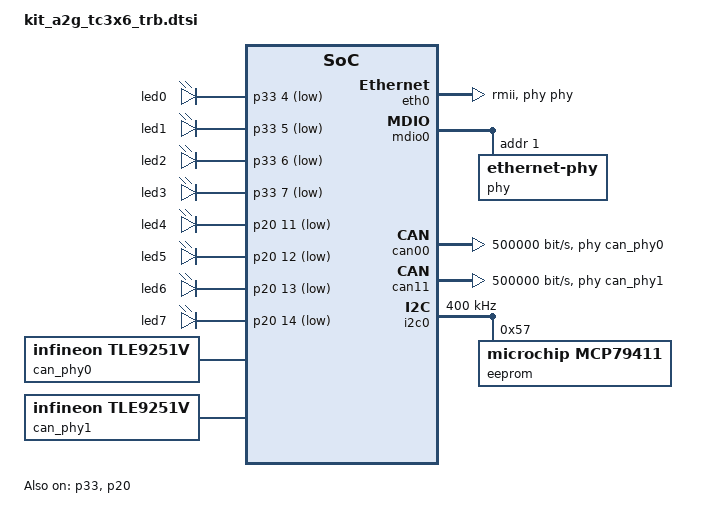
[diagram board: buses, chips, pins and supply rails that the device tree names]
/*
 * Copyright (c) 2026 Infineon Technologies AG
 *
 * SPDX-License-Identifier: Apache-2.0
 */
#include "kit_a2g_tc3x6_trb-pinctrl.dtsi"
#include <zephyr/dt-bindings/i2c/i2c.h>

/ {
	leds: leds {
		compatible = "gpio-leds";
		led0: led_0 {
			gpios = <&p33 4 GPIO_ACTIVE_LOW>;
		};
		led1: led_1 {
			gpios = <&p33 5 GPIO_ACTIVE_LOW>;
		};
		led2: led_2 {
			gpios = <&p33 6 GPIO_ACTIVE_LOW>;
		};
		led3: led_3 {
			gpios = <&p33 7 GPIO_ACTIVE_LOW>;
		};
		led4: led_4 {
			gpios = <&p20 11 GPIO_ACTIVE_LOW>;
		};
		led5: led_5 {
			gpios = <&p20 12 GPIO_ACTIVE_LOW>;
		};
		led6: led_6 {
			gpios = <&p20 13 GPIO_ACTIVE_LOW>;
		};
		led7: led_7 {
			gpios = <&p20 14 GPIO_ACTIVE_LOW>;
		};
	};

	aliases {
		led0 = &led0;
	};

	can_phy0: can-phy0 {
		compatible = "infineon,tle9251v", "can-transceiver-gpio";
		max-bitrate = <5000000>;
		#phy-cells = <0>;
	};

	can_phy1: can-phy1 {
		compatible = "infineon,tle9251v", "can-transceiver-gpio";
		max-bitrate = <5000000>;
		#phy-cells = <0>;
	};
};

&fosc {
	clock-frequency = <DT_FREQ_M(20)>;
	status = "okay";
};

&p33 {
	status = "okay";
};

&p20 {
	status = "okay";
};

&asclin0 {
	compatible = "infineon,asclin-uart";
	pinctrl-0 = <&uart0_default>;
	pinctrl-names = "default";
};

&eth0 {
	pinctrl-0 = <&eth0_rmii_default>;
	pinctrl-names = "default";
	phy-connection-type = "rmii";
	phy-handle = <&phy>;
};

&mdio0 {
	pinctrl-0 = <&eth0_mdio_default>;
	pinctrl-names = "default";

	phy: ethernet-phy@1 {
		compatible = "ethernet-phy";
		reg = <1>;
	};
};

&can00 {
	bitrate = <500000>;
	bitrate-data = <2000000>;
	pinctrl-0 = <&can0_default>;
	pinctrl-names = "default";
	phys = <&can_phy0>;
};
&can11 {
	bitrate = <500000>;
	bitrate-data = <2000000>;
	pinctrl-0 = <&can1_default>;
	pinctrl-names = "default";
	phys = <&can_phy1>;
};

&i2c0 {
	status = "okay";
	pinctrl-0 = <&i2c0_default>;
	pinctrl-names = "default";
	clock-frequency = <I2C_BITRATE_FAST>;

	/* MCP79411 EUI-48 EEPROM (0x57) */
	eeprom: eeprom@57 {
		compatible = "microchip,mcp79411", "atmel,at24";
		reg = <0x57>;
		size = <256>;
		pagesize = <8>;
		address-width = <8>;
		timeout = <5>;
	};
};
